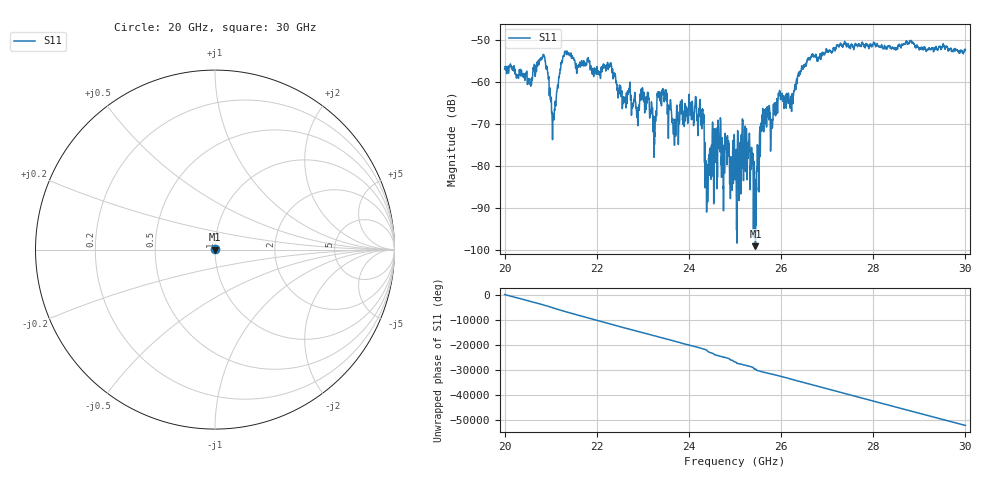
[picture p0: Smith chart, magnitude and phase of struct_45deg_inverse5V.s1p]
#  HZ  S  RI  R  50.00
! Rohde & Schwarz ZVA40 4Ports - Version 3.90 - 1145.1110k42 SN: 100403
! Date: 2023-09-30 09:09:09
! Measurement: S12
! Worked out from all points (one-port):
!   5001 points, 20 GHz to 30 GHz, reference 50 ohm
!   lowest |S11| = -99.0 dB at 25.44 GHz (marker M1), VSWR 1.00, Z = 50 + j0.000646 ohm
!   |S11| at or under -10 dB: start of sweep to end of sweep
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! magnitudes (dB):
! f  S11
! 20 GHz  -56.9
! 20.54 GHz  -59.3
! 20.84 GHz  -53.5
! 21.07 GHz  -68.8
! 21.25 GHz  -55.3
! 22.28 GHz  -56.2
! 22.5 GHz  -61.8
! 22.88 GHz  -67.2
! 23.09 GHz  -63.8
! 23.25 GHz  -73.6
! 23.34 GHz  -63.2
! 23.46 GHz  -63.8
! 23.67 GHz  -70.1
! 23.75 GHz  -68.9
! 24.11 GHz  -68.1
! 24.28 GHz  -69.9
! 24.4 GHz  -82.1
! 24.64 GHz  -71.9
! 25 GHz  -83.2
! 25.2 GHz  -75.8
! 25.44 GHz  -99.0
! 25.68 GHz  -67.0
! 25.8 GHz  -70.3
! 26.25 GHz  -64.3
! 26.64 GHz  -54.5
! 27.5 GHz  -51.8
! 28.75 GHz  -50.7
! 30 GHz  -52.2
